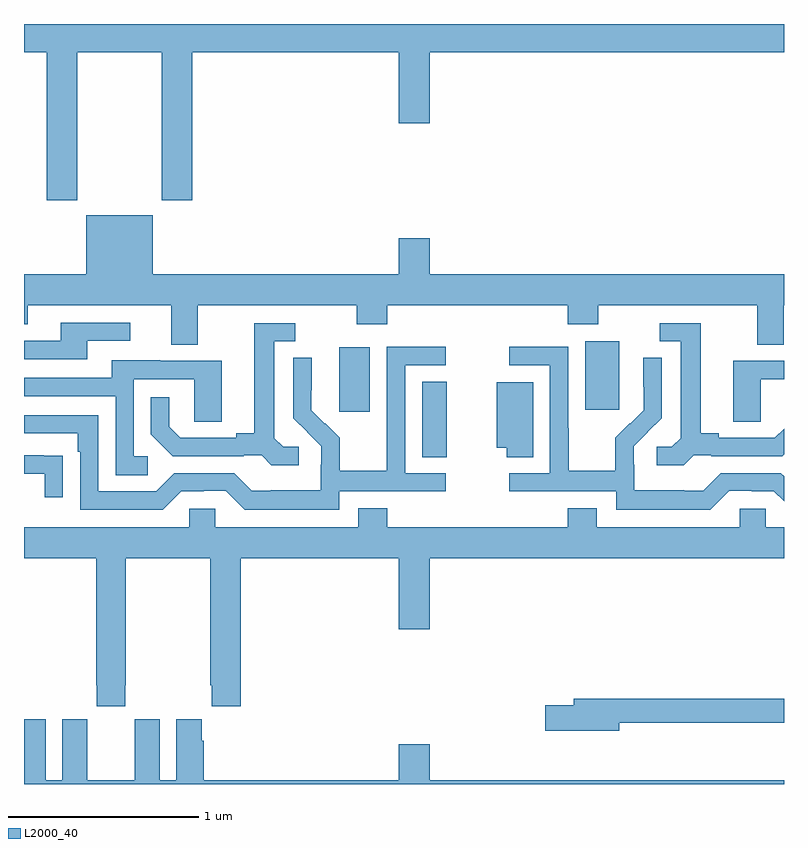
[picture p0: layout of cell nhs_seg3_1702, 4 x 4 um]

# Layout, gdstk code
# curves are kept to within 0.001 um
import gdstk
lib = gdstk.Library(unit=1e-6, precision=1e-09)
def R(c, l, rs):  # rectangles x0, y0, x1, y1
    for r in rs: c.add(gdstk.rectangle(r[:2], r[2:], *l))
def P(c, l, *ps):  # polygons
    for p in ps: c.add(gdstk.Polygon(p, *l))
L2000_40 = (2000, 40)

nhs_seg3_1702 = lib.new_cell('nhs_seg3_1702')
R(nhs_seg3_1702, L2000_40, [(201.095,696.121,201.226,696.518), (200.66,696.36,200.821,696.7), (201.953,696.369,202.132,696.73)])
P(nhs_seg3_1702, L2000_40, [(199.281,698.252),(199.726,698.252),(199.726,697.473),(199.886,697.473),(199.886,698.252),(200.972,698.252),(200.972,697.878),(201.136,697.878),(201.136,698.252),(203,698.252),(203,698.4),(199,698.4),(199,698.252),(199.121,698.252),(199.121,697.473),(199.281,697.473)],
  [(199.915,696.92),(200.752,696.92),(200.752,696.821),(200.912,696.821),(200.912,696.92),(201.863,696.92),(201.863,696.821),(202.023,696.821),(202.023,696.92),(202.859,696.92),(202.859,696.712),(202.999,696.712),(202.999,696.92),(203,696.92),(203,697.084),(201.136,697.084),(201.136,697.273),(200.972,697.273),(200.972,697.084),(199.678,697.084),(199.678,697.393),(199.328,697.393),(199.328,697.084),(199,697.084),(199,696.821),(199.021,696.821),(199.021,696.92),(199.775,696.92),(199.775,696.712),(199.915,696.712)],
  [(199.333,696.732),(199.558,696.732),(199.558,696.828),(199.193,696.828),(199.193,696.732),(199,696.732),(199,696.636),(199.333,696.636)],
  [(202.524,696.129),(202.618,696.129),(202.618,696.126),(202.99,696.126),(203,696.136),(203,696.27),(202.952,696.222),(202.657,696.222),(202.657,696.245),(202.561,696.245),(202.561,696.825),(202.347,696.825),(202.347,696.729),(202.457,696.729),(202.457,696.221),(202.41,696.174),(202.329,696.174),(202.329,696.077),(202.472,696.077)],
  [(200.446,696.174),(200.364,696.174),(200.317,696.221),(200.317,696.729),(200.428,696.729),(200.428,696.825),(200.213,696.825),(200.213,696.245),(200.117,696.245),(200.117,696.222),(199.822,696.222),(199.765,696.279),(199.765,696.436),(199.668,696.436),(199.668,696.242),(199.784,696.126),(200.156,696.126),(200.156,696.129),(200.25,696.129),(200.302,696.077),(200.446,696.077)],
  [(200.658,695.94),(201.22,695.94),(201.22,696.036),(201.006,696.036),(201.006,696.603),(201.22,696.603),(201.22,696.702),(200.91,696.702),(200.91,696.272),(200.908,696.272),(200.908,696.049),(200.663,696.049),(200.663,696.223),(200.586,696.3),(200.583,696.297),(200.513,696.368),(200.513,696.472),(200.515,696.472),(200.515,696.644),(200.418,696.644),(200.418,696.326),(200.564,696.178),(200.564,696.081),(200.562,696.081),(200.562,695.947),(200.299,695.947),(200.299,695.943),(200.199,695.943),(200.106,696.036),(199.791,696.036),(199.695,695.94),(199.392,695.94),(199.392,696.342),(199,696.342),(199,696.246),(199.283,696.246),(199.283,696.149),(199.296,696.149),(199.296,695.844),(199.731,695.844),(199.827,695.94),(199.946,695.94),(199.946,695.943),(200.061,695.943),(200.161,695.843),(200.658,695.843)],
  [(202.713,695.943),(202.829,695.943),(202.829,695.94),(202.947,695.94),(203,695.887),(203,696.019),(202.983,696.036),(202.668,696.036),(202.575,695.943),(202.475,695.943),(202.475,695.947),(202.212,695.947),(202.212,696.081),(202.21,696.081),(202.21,696.178),(202.356,696.326),(202.356,696.644),(202.26,696.644),(202.26,696.49),(202.262,696.49),(202.262,696.368),(202.191,696.297),(202.188,696.3),(202.111,696.223),(202.111,696.049),(201.867,696.049),(201.867,696.272),(201.864,696.272),(201.864,696.702),(201.555,696.702),(201.555,696.603),(201.768,696.603),(201.768,696.036),(201.555,696.036),(201.555,695.94),(202.116,695.94),(202.116,695.843),(202.613,695.843)],
  [(199.651,696.126),(199.578,696.126),(199.578,696.531),(199.896,696.531),(199.896,696.307),(200.041,696.307),(200.041,696.627),(199.717,696.627),(199.717,696.631),(199.463,696.631),(199.463,696.537),(199,696.537),(199,696.441),(199.482,696.441),(199.482,696.025),(199.651,696.025)],
  [(202.878,696.531),(203,696.531),(203,696.627),(202.733,696.627),(202.733,696.307),(202.878,696.307)],
  [(201.679,696.514),(201.488,696.514),(201.488,696.17),(201.541,696.17),(201.541,696.121),(201.679,696.121)],
  [(199.205,696.128),(199.103,696.128),(199.103,696.129),(199,696.129),(199,696.033),(199.109,696.033),(199.109,695.91),(199.205,695.91)],
  [(199.533,694.921),(199.536,694.921),(199.536,695.588),(199.981,695.588),(199.981,694.921),(199.987,694.921),(199.987,694.809),(200.141,694.809),(200.141,695.588),(200.972,695.588),(200.972,695.214),(201.136,695.214),(201.136,695.588),(203,695.588),(203,695.752),(202.905,695.752),(202.905,695.85),(202.767,695.85),(202.767,695.752),(202.015,695.752),(202.015,695.851),(201.863,695.851),(201.863,695.752),(200.912,695.752),(200.912,695.851),(200.759,695.851),(200.759,695.752),(200.007,695.752),(200.007,695.85),(199.869,695.85),(199.869,695.752),(199,695.752),(199,695.588),(199.381,695.588),(199.381,694.921),(199.383,694.921),(199.383,694.809),(199.533,694.809)],
  [(202.132,694.722),(203,694.722),(203,694.85),(201.893,694.85),(201.893,694.814),(201.744,694.814),(201.744,694.679),(202.132,694.679)],
  [(203,694.42),(201.136,694.42),(201.136,694.609),(200.972,694.609),(200.972,694.42),(199.946,694.42),(199.946,694.628),(199.936,694.628),(199.936,694.741),(199.802,694.741),(199.802,694.42),(199.714,694.42),(199.714,694.741),(199.584,694.741),(199.584,694.628),(199.583,694.628),(199.583,694.42),(199.333,694.42),(199.333,694.628),(199.332,694.628),(199.332,694.741),(199.202,694.741),(199.202,694.42),(199.114,694.42),(199.114,694.741),(199,694.741),(199,694.4),(203,694.4)])

lib.write_gds('nhs_seg3_1702.gds')
